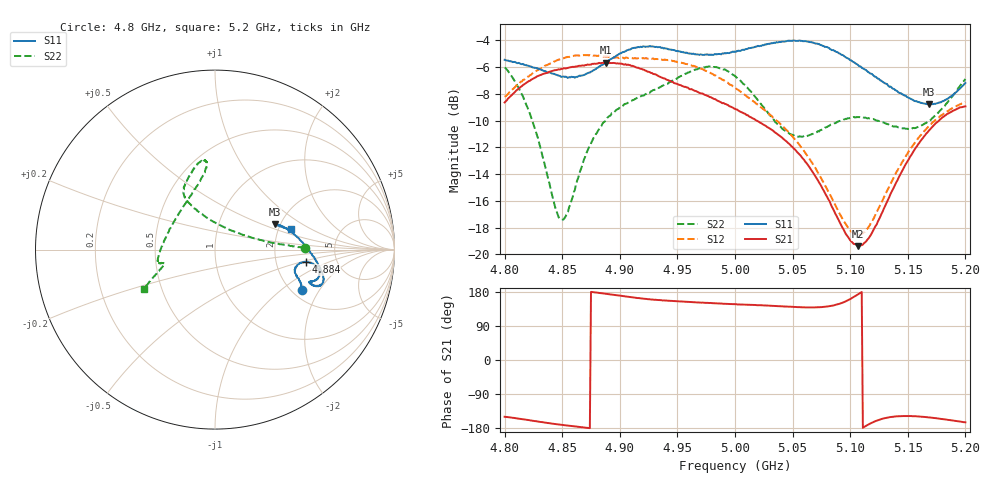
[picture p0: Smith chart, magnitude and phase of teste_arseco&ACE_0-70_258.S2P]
! Network Analyzer HP8722D
! Hewlett-Packard
! Data name: Linha & Wilkinson
! Saver's name: Rodrigo Anjos
! Comments: Teste da utilização de aquisição
! continua pelo VNA HP8722D
! Time and date: 8/5/2025 14:54
!  Frequency  S11  S21  S12  S22
# HZ  S  MA R 50
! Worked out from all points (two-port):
!   401 points, 4.8 GHz to 5.2 GHz, reference 50 ohm
!   highest |S21| = -5.66 dB at 4.888 GHz (marker M1); lowest = -19.4 dB at 5.107 GHz (marker M2)
!   |S21| within 3 dB of the highest: start of sweep to 4.988 GHz
!   lowest |S11| = -8.8 dB at 5.168 GHz (marker M3), VSWR 2.15, Z = 93.9 + j30.7 ohm
!   |S11| at or under -10 dB: nowhere
!   |S22| runs from -17.4 to -6.0 dB; largest |S21 - S12| = 1.1
!   S11 on the Smith chart (normalised r, x): 4.8 GHz: 2.24, -1.42; 4.884 GHz: 2.96, -0.55; 5.2 GHz: 2.33, +0.65
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4.8e9  0.5332 -25.2  0.3694 -149.8  0.3884 9.4  0.4989 1.3
4.811e9  0.518 -22.4  0.4122 -154.3  0.4299 8.0  0.4271 2.8
4.822e9  0.5039 -20.5  0.4454 -159.0  0.4671 6.3  0.3352 6.1
4.848e9  0.4639 -16.1  0.4906 -170.5  0.5352 2.3  0.1362 56.9
4.855e9  0.4567 -14.3  0.4977 -173.2  0.5471 1.1  0.144 85.8
4.867e9  0.4656 -10.8  0.5076 -177.4  0.555 -0.6  0.2124 110.8
4.884e9  0.5096 -7.7  0.5189 176.4  0.5491 -1.9  0.3016 119.5
4.888e9  0.5222 -7.8  0.5211 174.8  0.5479 -1.9  0.3165 119.7
4.912e9  0.591 -11.0  0.5047 164.9  0.5399 -1.3  0.3773 117.4
4.934e9  0.5953 -15.9  0.4625 158.0  0.5379 -2.1  0.419 111.6
4.975e9  0.5583 -18.8  0.3929 150.9  0.4846 -5.8  0.5022 98.3
5e9  0.5731 -19.8  0.3499 147.2  0.4193 -5.8  0.4646 96.0
5.043e9  0.624 -18.0  0.2679 141.1  0.2965 2.2  0.2908 130.2
5.067e9  0.6197 -13.7  0.2043 138.8  0.2194 9.1  0.2817 164.6
5.096e9  0.5453 -3.6  0.1195 154.7  0.1299 35.1  0.3208 -171.8
5.107e9  0.5092 1.6  0.1073 173.6  0.1179 56.2  0.3256 -168.0
5.117e9  0.4752 6.7  0.1164 -168.2  0.1285 75.8  0.3214 -166.7
5.134e9  0.4229 14.8  0.164 -151.1  0.1797 94.7  0.3041 -165.7
5.151e9  0.384 20.8  0.2272 -147.9  0.2436 100.5  0.295 -164.7
5.168e9  0.3641 22.9  0.2889 -151.4  0.3006 101.6  0.3142 -161.1
5.183e9  0.3782 20.4  0.3314 -157.0  0.3399 101.6  0.3638 -156.7
5.2e9  0.4369 14.9  0.3571 -164.5  0.3708 102.0  0.4524 -151.0
